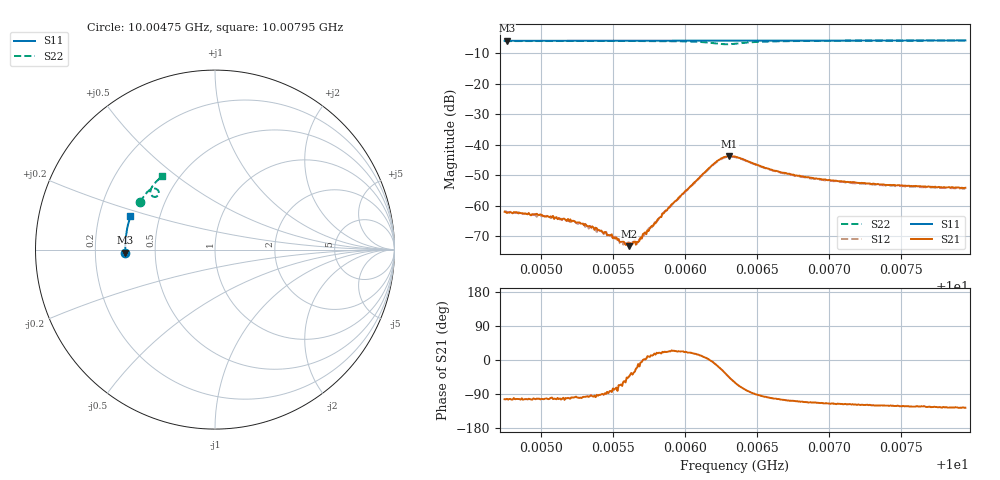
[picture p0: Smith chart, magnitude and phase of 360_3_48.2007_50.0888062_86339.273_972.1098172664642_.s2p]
#  HZ  S  RI  R  50.00
! Rohde & Schwarz Vector Network Analyzer
! Rohde-Schwarz,ZNB20-2Port,1311601062101988,3.16
! Created: UTC 3/20/2024, 11:52:10 AM
! freq[Hz]  re:S11  im:S11  re:S21  im:S21  re:S12  im:S12  re:S22  im:S22
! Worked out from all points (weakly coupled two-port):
!   401 points, 10.00475 GHz to 10.00795 GHz, reference 50 ohm
!   highest |S21| = -43.71 dB at 10.00631 GHz (marker M1); lowest = -73.2 dB at 10.00561 GHz (marker M2)
!   lowest |S11| = -6.0 dB at 10.00476 GHz (marker M3), VSWR 2.99, Z = 16.7 - j0.769 ohm
!   |S11| at or under -10 dB: nowhere
!   |S22| runs from -7.2 to -6.0 dB; largest |S21 - S12| = 0.0004
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1.0004748e10  -0.4988 -0.0185  -0.000186 -0.000778  -0.000147 -0.000804  -0.4179 0.2628
1.0004764e10  -0.4988 -0.0173  -0.000166 -0.000751  -0.000143 -0.000769  -0.4174 0.2638
1.0004988e10  -0.4996 -0.00281  -0.000148 -0.00069  -0.000115 -0.000683  -0.4096 0.2769
1.0005092e10  -0.4998 0.00377  -0.000124 -0.000599  -0.000103 -0.000632  -0.4056 0.2831
1.0005284e10  -0.4999 0.0164  -9.14e-05 -0.000503  -4.18e-05 -0.0005  -0.3981 0.2946
1.0005436e10  -0.4999 0.0262  -1.06e-05 -0.000356  3.51e-05 -0.000342  -0.3915 0.3036
1.00055e10  -0.4998 0.0304  7.62e-05 -0.000285  5.83e-05 -0.00029  -0.3885 0.3075
1.000554e10  -0.4997 0.0329  0.000113 -0.000259  0.000123 -0.00026  -0.3866 0.3098
1.0005612e10  -0.4995 0.0377  0.000158 -0.000151  0.000196 -0.00016  -0.3828 0.3144
1.0005676e10  -0.4992 0.0418  0.000252 -4.71e-05  0.000265 -4.95e-05  -0.3793 0.3183
1.0005708e10  -0.4992 0.0437  0.000342 -1.14e-06  0.000316 5.47e-06  -0.3775 0.3204
1.000582e10  -0.4986 0.051  0.000589 0.000207  0.000583 0.000218  -0.3699 0.3276
1.0005916e10  -0.4982 0.0573  0.000996 0.000442  0.000975 0.000468  -0.3619 0.3337
1.0006188e10  -0.4961 0.0746  0.00455 -0.000308  0.0045 -8.93e-05  -0.3188 0.3319
1.0006252e10  -0.4953 0.0787  0.00543 -0.00245  0.0054 -0.00215  -0.313 0.3129
1.0006308e10  -0.495 0.082  0.00456 -0.00467  0.00466 -0.00433  -0.3236 0.2967
1.0006348e10  -0.4947 0.0844  0.0032 -0.00551  0.00339 -0.00521  -0.3367 0.2936
1.0006612e10  -0.4926 0.1013  -0.000732 -0.00372  -0.00056 -0.0037  -0.3589 0.3314
1.0006883e10  -0.4893 0.1186  -0.00109 -0.00264  -0.000924 -0.00265  -0.3469 0.3553
1.0007179e10  -0.4851 0.1372  -0.0011 -0.00214  -0.000962 -0.00212  -0.3324 0.3732
1.0007419e10  -0.481 0.1522  -0.00113 -0.00188  -0.00101 -0.00191  -0.3204 0.3857
1.0007947e10  -0.4708 0.1845  -0.00116 -0.0016  -0.00104 -0.0016  -0.2934 0.4094
